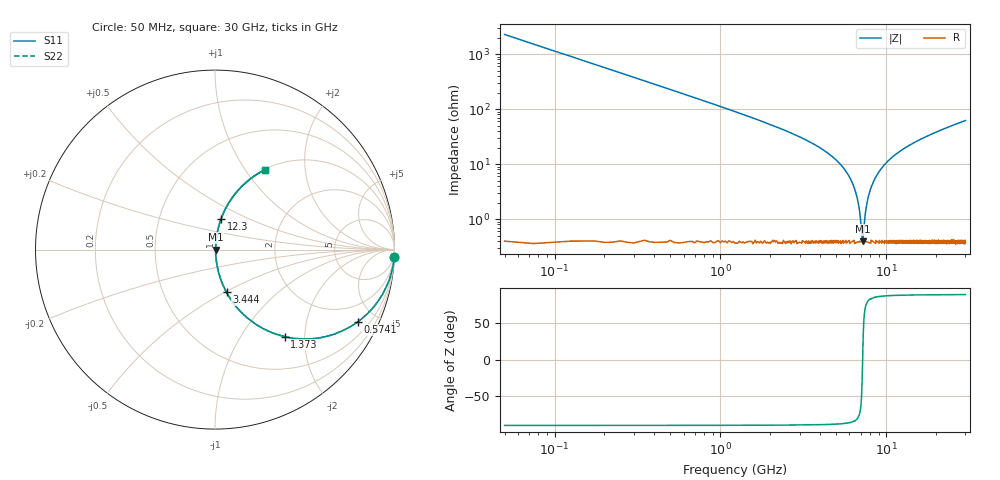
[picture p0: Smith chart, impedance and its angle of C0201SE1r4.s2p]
!	AVX Thin Film Operation 	Date: April 2014
!	Description: Accu-P® Series, Thin Film  SMD RF Capacitor
!	Part Number: 02015J1R4PBSTR
# MHZ S MA R 50
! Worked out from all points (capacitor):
!   1201 points, 50 MHz to 30 GHz, reference 50 ohm
!   read as one part in series: C = 1.4 pF near 199.8 MHz
!   lowest |Z| = 397 mohm at 7.213 GHz (marker M1)
!   series resonance near 7.202 GHz, so ESL is about 350 pH
!   S11 on the Smith chart (normalised r, x): 50 MHz: 1, -45; 574.1 MHz: 1.01, -3.94; 1.373 GHz: 1.01, -1.60; 3.444 GHz: 1.01, -0.51; 12.3 GHz: 1.01, +0.35; 30 GHz: 1.01, +1.24
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50  0.999 -2.5  0.044 87.5  0.044 87.5  0.999 -2.5
299.583  0.967 -14.8  0.255 75.2  0.255 75.2  0.967 -14.8
574.125  0.891 -26.9  0.453 63.0  0.453 63.0  0.891 -26.9
1372.792  0.622 -51.2  0.78 38.5  0.78 38.5  0.622 -51.2
2221.375  0.419 -64.8  0.905 24.8  0.905 24.8  0.419 -64.8
3444.333  0.246 -74.9  0.966 14.2  0.966 14.2  0.246 -74.9
5041.667  0.114 -81.5  0.99 6.5  0.99 6.5  0.114 -81.5
5890.25  0.064 -82.9  0.994 3.6  0.994 3.6  0.064 -82.9
6439.333  0.035 -81.8  0.996 2.0  0.996 2.0  0.035 -81.8
6763.792  0.02 -77.9  0.996 1.1  0.996 1.1  0.02 -77.9
7088.25  0.006325 -52.3  0.996 0.3  0.996 0.3  0.006325 -52.3
7213.042  0.003874 6.9  0.996 -0.0  0.996 -0.0  0.003874 6.9
7312.875  0.006142 51.0  0.996 -0.3  0.996 -0.3  0.006142 51.0
7637.333  0.019 77.2  0.996 -1.1  0.996 -1.1  0.019 77.2
8061.625  0.036 81.8  0.996 -2.0  0.996 -2.0  0.036 81.8
8910.208  0.067 82.9  0.994 -3.9  0.994 -3.9  0.067 82.9
10058.29  0.106 81.8  0.991 -6.1  0.991 -6.1  0.106 81.8
12304.54  0.174 78.7  0.981 -10.0  0.981 -10.0  0.174 78.7
15025  0.245 75.0  0.966 -14.2  0.966 -14.2  0.245 75.0
20016.67  0.356 68.6  0.931 -20.8  0.931 -20.8  0.356 68.6
25033.29  0.448 62.9  0.891 -26.6  0.891 -26.6  0.448 62.9
30000  0.525 58.0  0.848 -31.7  0.848 -31.7  0.525 58.0
